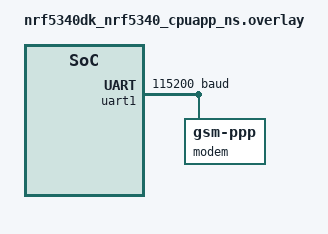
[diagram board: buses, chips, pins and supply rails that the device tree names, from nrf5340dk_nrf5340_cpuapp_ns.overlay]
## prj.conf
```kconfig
CONFIG_SERIAL=y

# GSM modem support
CONFIG_MODEM=y
CONFIG_MODEM_GSM_PPP=y

# PPP networking support
CONFIG_NET_DRIVERS=y
CONFIG_NET_PPP=y
CONFIG_NET_L2_PPP=y
CONFIG_NET_NATIVE=y
CONFIG_NETWORKING=y

CONFIG_NET_L2_PPP_TIMEOUT=10000

# IPv4 enables PPP IPCP support
CONFIG_NET_IPV4=y
CONFIG_NET_IPV6=n

# Network management events
CONFIG_NET_CONNECTION_MANAGER=y

# Log buffers, modem and PPP
CONFIG_LOG=y
CONFIG_NET_LOG=y
#CONFIG_LOG_BUFFER_SIZE=16384
#CONFIG_MODEM_LOG_LEVEL_DBG=y
#CONFIG_NET_PPP_LOG_LEVEL_DBG=y
#CONFIG_NET_L2_PPP_LOG_LEVEL_DBG=y
#CONFIG_NET_MGMT_EVENT_LOG_LEVEL_DBG=y
#CONFIG_NET_CONNECTION_MANAGER_LOG_LEVEL_DBG=y

CONFIG_NET_SHELL=y
CONFIG_MODEM_SHELL=y
```

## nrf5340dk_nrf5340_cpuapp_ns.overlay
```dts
&uart1 {
	status = "okay";
	current-speed = < 115200>;
};

uart1: &uart1 {
	compatible = "nordic,nrf-uarte";
	pinctrl-0 = <&uart1_default>;

    modem: modem {
        compatible = "zephyr,gsm-ppp";
        status = "okay";
    };
};
&gpio_fwd {
    uart {
        gpios = <&gpio0 11 0>, <&gpio0 10 0>;
    };
};

&uart1_default {
    group1 {
        psels = <NRF_PSEL(UART_TX, 1, 6)>, <NRF_PSEL(UART_RX, 1, 5)>;
    };
};
/delete-node/ &{/pin-controller/uart1_default/group2/};
/delete-node/ &{/pin-controller/uart1_sleep/group1/};
```

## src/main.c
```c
#include <zephyr/kernel.h>
#include <zephyr/sys/printk.h>
#include <zephyr/shell/shell.h>
#include <zephyr/drivers/uart.h>
#include <zephyr/net/net_mgmt.h>
#include <zephyr/net/net_event.h>
// #include <zephyr/net/conn_mgr_monitor.h>
#include <zephyr/net/conn_mgr.h>
#include <zephyr/drivers/modem/gsm_ppp.h>
#include <zephyr/devicetree.h>

#include <zephyr/logging/log.h>
LOG_MODULE_REGISTER(sample_gsm_ppp, LOG_LEVEL_DBG);

#define GSM_MODEM_NODE DT_COMPAT_GET_ANY_STATUS_OKAY(zephyr_gsm_ppp)
#define UART_NODE DT_BUS(GSM_MODEM_NODE)

static const struct device *const gsm_dev = DEVICE_DT_GET(GSM_MODEM_NODE);
static struct net_mgmt_event_callback mgmt_cb;
static bool starting = IS_ENABLED(CONFIG_GSM_PPP_AUTOSTART);

static int cmd_sample_modem_suspend(const struct shell *sh,
				    size_t argc, char *argv[])
{
	ARG_UNUSED(argc);
	ARG_UNUSED(argv);

	if (!starting) {
		shell_fprintf(sh, SHELL_NORMAL, "Modem is already stopped.\n");
		return -ENOEXEC;
	}

	gsm_ppp_stop(gsm_dev);
	starting = false;

	return 0;
}

static int cmd_sample_modem_resume(const struct shell *sh,
				   size_t argc, char *argv[])
{
	ARG_UNUSED(argc);
	ARG_UNUSED(argv);

	if (starting) {
		shell_fprintf(sh, SHELL_NORMAL, "Modem is already started.\n");
		return -ENOEXEC;
	}

	gsm_ppp_start(gsm_dev);
	starting = true;

	return 0;
}

SHELL_STATIC_SUBCMD_SET_CREATE(sample_commands,
	SHELL_CMD(resume, NULL,
		  "Resume the modem\n",
		  cmd_sample_modem_resume),
	SHELL_CMD(suspend, NULL,
		  "Suspend the modem\n",
		  cmd_sample_modem_suspend),
	SHELL_SUBCMD_SET_END
);

SHELL_CMD_REGISTER(sample, &sample_commands,
		   "Sample application commands", NULL);


static void event_handler(struct net_mgmt_event_callback *cb,
			  uint32_t mgmt_event, struct net_if *iface)
{
	ARG_UNUSED(cb);
	ARG_UNUSED(iface);

	if ((mgmt_event & (NET_EVENT_L4_CONNECTED
			   | NET_EVENT_L4_DISCONNECTED)) != mgmt_event) {
		return;
	}

	if (mgmt_event == NET_EVENT_L4_CONNECTED) {
		LOG_INF("Network connected");
		return;
	}

	if (mgmt_event == NET_EVENT_L4_DISCONNECTED) {
		LOG_INF("Network disconnected");
		return;
	}
}

static void modem_on_cb(const struct device *dev, void *user_data)
{
	ARG_UNUSED(dev);
	ARG_UNUSED(user_data);

	LOG_INF("GSM modem on callback fired");
}

static void modem_off_cb(const struct device *dev, void *user_data)
{
	ARG_UNUSED(dev);
	ARG_UNUSED(user_data);

	LOG_INF("GSM modem off callback fired");
}

int main(void)
{
	const struct device *const uart_dev = DEVICE_DT_GET(UART_NODE);

	/* Optional register modem power callbacks */
	gsm_ppp_register_modem_power_callback(gsm_dev, modem_on_cb, modem_off_cb, NULL);

	LOG_INF("Board '%s' APN '%s' UART '%s' device %p (%s)",
		CONFIG_BOARD, CONFIG_MODEM_GSM_APN,
		uart_dev->name, uart_dev, gsm_dev->name);

	net_mgmt_init_event_callback(&mgmt_cb, event_handler,
				     NET_EVENT_L4_CONNECTED |
				     NET_EVENT_L4_DISCONNECTED);
	net_mgmt_add_event_callback(&mgmt_cb);

	return 0;
}
```
